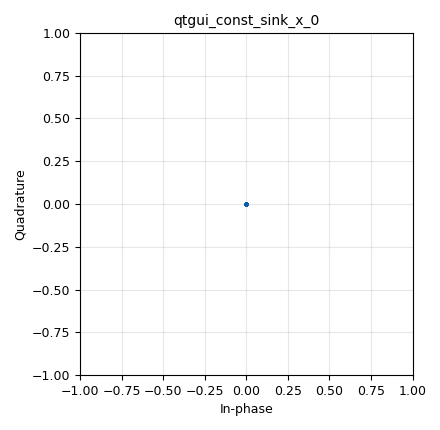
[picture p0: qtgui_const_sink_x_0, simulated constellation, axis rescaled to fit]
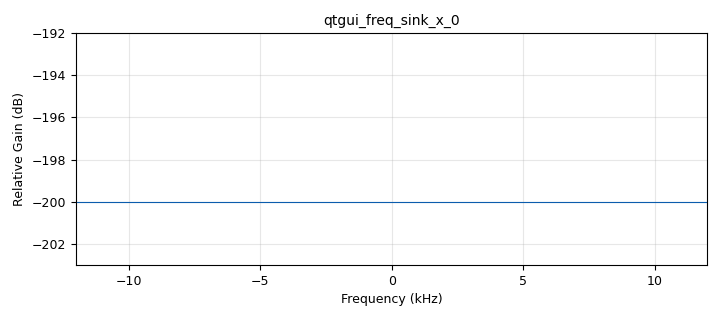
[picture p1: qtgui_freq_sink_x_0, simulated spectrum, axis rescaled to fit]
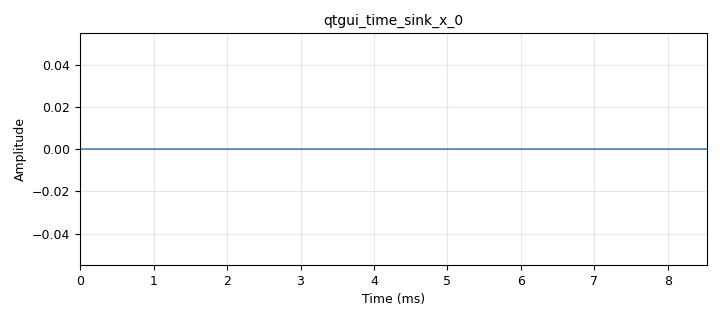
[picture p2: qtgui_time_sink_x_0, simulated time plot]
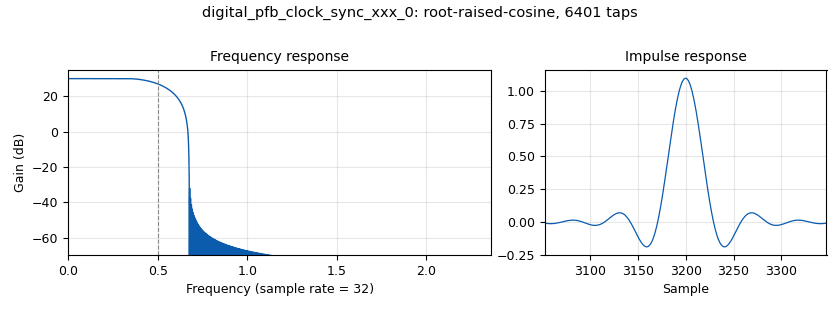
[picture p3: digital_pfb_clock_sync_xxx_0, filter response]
options:
  parameters:
    author: Aaron Scher
    description: Transmit and receive example
    generate_options: qt_gui
    id: top_block
    output_language: python
    title: HackRF - RTLSDR loop back test
  states: {}

blocks:
- name: EBW
  id: variable
  parameters:
    value: '.35'
  states: {}
- name: RRC_filter_taps
  id: variable_rrc_filter_taps
  parameters:
    alpha: EBW
    comment: Root raised cosine definition.
    gain: nfilts
    ntaps: 5*sps_TX*nfilts
    samp_rate: nfilts
    sym_rate: '1.0'
  states: {}
- name: center_freq
  id: variable
  parameters:
    comment: RF carrier frequency
    value: 430E6
  states: {}
- name: freq_offset_value
  id: variable
  parameters:
    comment: |-
      Digitally upcovert transmitted 
      signal by this value to avoid
      DC spurs, etc.
      At the receiver end, we will
      need to downconvert signal
      by this value.
    value: 30E3
  states: {}
- name: nfilts
  id: variable
  parameters:
    value: '32'
  states: {}
- name: samp_rate
  id: variable
  parameters:
    comment: |-
      Sample rate - 
      determines BW
      of transmitter and receiver.
      This should be larger
      than BW of signal itself.
    value: 240E3
  states: {}
- name: sps_RX
  id: variable
  parameters:
    comment: |-
      Samples per 
      signal at
      receiver
    value: 40/10
  states: {}
- name: sps_TX
  id: variable
  parameters:
    comment: |-
      Samples 
      per signal
      at transmitter
    value: '40'
  states: {}
- name: analog_sig_source_x_0
  id: analog_sig_source_x
  parameters:
    amp: '1'
    comment: Local oscillator
    freq: freq_offset_value
    offset: '0'
    phase: '0'
    samp_rate: samp_rate
    type: complex
    waveform: analog.GR_COS_WAVE
  states: {}
- name: analog_sig_source_x_1
  id: analog_sig_source_x
  parameters:
    amp: '1'
    comment: local oscillator
    freq: '-freq_offset_value'
    offset: '0'
    phase: '0'
    samp_rate: samp_rate
    type: complex
    waveform: analog.GR_COS_WAVE
  states: {}
- name: blocks_char_to_float_0_0
  id: blocks_char_to_float
  parameters:
    scale: '1'
  states: {}
- name: blocks_message_debug_0
  id: blocks_message_debug
  parameters:
    comment: |-
      Display recovered
      message
  states: {}
- name: blocks_message_strobe_0_0
  id: blocks_message_strobe
  parameters:
    comment: Generate hello world message
    msg: pmt.cons(pmt.make_dict(), pmt.pmt_to_python.numpy_to_uvector(numpy.array([ord(c) for c in "Hello world!"], numpy.uint8)))
    period: '500'
  states: {state: disabled}
- name: blocks_message_strobe_0_0_0
  id: blocks_message_strobe
  parameters:
    comment: Generate hello world message
    msg: pmt.cons(pmt.make_dict(), pmt.pmt_to_python.numpy_to_uvector(numpy.array([ord(c) for c in "Hello world!"], numpy.uint8)))
    period: '500'
  states: {}
- name: blocks_multiply_const_vxx_0
  id: blocks_multiply_const_vxx
  parameters:
    const: '0.5'
    type: complex
  states: {}
- name: blocks_multiply_xx_0
  id: blocks_multiply_xx
  parameters:
    comment: |-
      Perform frequency tranlation 
      (up convert)
    type: complex
  states: {}
- name: blocks_multiply_xx_1
  id: blocks_multiply_xx
  parameters:
    comment: |-
      Perform frequency translation
      (down convert)
    type: complex
  states: {}
- name: blocks_pdu_to_tagged_stream_1
  id: blocks_pdu_to_tagged_stream
  parameters:
    tag: len_key
    type: byte
  states: {}
- name: blocks_repack_bits_bb_0_0
  id: blocks_repack_bits_bb
  parameters:
    comment: Unpack bytes
    endianness: gr.GR_MSB_FIRST
    k: '8'
    l: my_const.bits_per_symbol()
    len_tag_key: len_key
  states: {}
- name: blocks_repack_bits_bb_0_0_0
  id: blocks_repack_bits_bb
  parameters:
    comment: |-
      Tagged Stream to PDU block up ahead needs
      packed bytes
    endianness: gr.GR_MSB_FIRST
    k: '1'
    l: '8'
    len_tag_key: len_key2
  states: {}
- name: blocks_tagged_stream_multiply_length_0
  id: blocks_tagged_stream_multiply_length
  parameters:
    c: sps_TX
    comment: Fix length tag to reflect the resampling
    lengthtagname: len_key
    type: complex
  states: {}
- name: blocks_tagged_stream_mux_0
  id: blocks_tagged_stream_mux
  parameters:
    comment: Append header to payload
    lengthtagname: len_key
    ninputs: '2'
    type: byte
  states: {}
- name: blocks_tagged_stream_to_pdu_0
  id: blocks_tagged_stream_to_pdu
  parameters:
    tag: len_key2
    type: byte
  states: {}
- name: blocks_unpack_k_bits_bb_0_0
  id: blocks_unpack_k_bits_bb
  parameters:
    k: '4'
  states: {}
- name: digital_binary_slicer_fb_0
  id: digital_binary_slicer_fb
  parameters: {}
  states: {}
- name: digital_burst_shaper_xx_0
  id: digital_burst_shaper_xx
  parameters:
    alias: burst_shapera
    comment: Zero pad, etc.
    insert_phasing: 'True'
    length_tag_name: len_key
    post_padding: '4000'
    pre_padding: '4000'
    type: complex
    window: numpy.ones(500)
  states: {}
- name: digital_chunks_to_symbols_xx_0_0
  id: digital_chunks_to_symbols_xx
  parameters:
    comment: Binary 1's and 0's to symbols.
    dimension: '1'
    in_type: byte
    out_type: complex
    symbol_table: my_const.points()
  states: {}
- name: digital_cma_equalizer_cc_0
  id: digital_cma_equalizer_cc
  parameters:
    comment: Channel equalizer
    modulus: '1'
    mu: '.01'
    num_taps: '11'
    sps: '1'
  states: {}
- name: digital_constellation_soft_decoder_cf_0
  id: digital_constellation_soft_decoder_cf
  parameters:
    comment: Decision
    constellation: my_const
  states: {}
- name: digital_correlate_access_code_xx_ts_1_0
  id: digital_correlate_access_code_xx_ts
  parameters:
    access_code: digital.packet_utils.default_access_code
    comment: Correlates with access code to extract the payload.
    tagname: len_key2
    threshold: '2'
    type: byte
  states: {}
- name: digital_costas_loop_cc_0
  id: digital_costas_loop_cc
  parameters:
    comment: Fine carrier frequency and phase sync
    order: '2'
    w: '.01'
  states: {}
- name: digital_diff_decoder_bb_0
  id: digital_diff_decoder_bb
  parameters:
    modulus: '2'
  states: {}
- name: digital_diff_encoder_bb_0
  id: digital_diff_encoder_bb
  parameters:
    modulus: '2'
  states: {}
- name: digital_fll_band_edge_cc_0
  id: digital_fll_band_edge_cc
  parameters:
    comment: Carrier frequency sync
    filter_size: '45'
    rolloff: EBW
    samps_per_sym: sps_RX
    type: cc
    w: '.02'
  states: {}
- name: digital_pfb_clock_sync_xxx_0
  id: digital_pfb_clock_sync_xxx
  parameters:
    comment: Timing recovery (sync)
    filter_size: nfilts
    init_phase: nfilts/2
    loop_bw: 6.28/400.0*2
    max_dev: '1.5'
    osps: '1'
    sps: sps_RX
    taps: RRC_filter_taps
    type: ccf
  states: {}
- name: digital_protocol_formatter_bb_0
  id: digital_protocol_formatter_bb
  parameters:
    comment: Generate header
    format: hdr_format
    len_tag_key: len_key
  states: {}
- name: hdr_format
  id: parameter
  parameters:
    comment: Header format definition
    label: Header Formatter
    value: digital.header_format_default(digital.packet_utils.default_access_code, 0)
  states: {}
- name: import_0
  id: import
  parameters:
    comment: |-
      Custom Embedded
      Python Block uses 
      this library.
    imports: import numpy
  states: {}
- name: my_const
  id: parameter
  parameters:
    comment: Constellation definition
    label: Constellation
    value: digital.constellation_calcdist((digital.psk_2()[0]), (digital.psk_2()[1]), 2, 1).base()
  states: {}
- name: pfb_arb_resampler_xxx_0
  id: pfb_arb_resampler_xxx
  parameters:
    atten: '100'
    comment: Resample. Apply RRC filter
    nfilts: nfilts
    rrate: sps_TX
    taps: RRC_filter_taps
    type: ccf
  states: {}
- name: qtgui_const_sink_x_0
  id: qtgui_const_sink_x
  parameters:
    size: '1024'
    type: complex
  states: {}
- name: qtgui_freq_sink_x_0
  id: qtgui_freq_sink_x
  parameters:
    bw: samp_rate/int(sps_TX/sps_RX)
    fc: '0'
    fftsize: '1024'
    showports: 'True'
    type: complex
  states: {}
- name: qtgui_time_sink_x_0
  id: qtgui_time_sink_x
  parameters:
    autoscale: 'True'
    grid: 'True'
    size: '2048'
    srate: samp_rate
    type: float
  states: {}
- name: rational_resampler_xxx_0
  id: rational_resampler_xxx
  parameters:
    comment: Downsample and LPF
    decim: int(sps_TX/sps_RX)
    interp: '1'
    taps: ''
    type: ccc
  states: {}

connections:
- [analog_sig_source_x_0, '0', blocks_multiply_xx_0, '1']
- [analog_sig_source_x_1, '0', blocks_multiply_xx_1, '1']
- [blocks_char_to_float_0_0, '0', qtgui_time_sink_x_0, '0']
- [blocks_message_strobe_0_0_0, strobe, blocks_pdu_to_tagged_stream_1, pdus]
- [blocks_multiply_const_vxx_0, '0', blocks_multiply_xx_0, '0']
- [blocks_multiply_xx_0, '0', blocks_multiply_xx_1, '0']
- [blocks_multiply_xx_1, '0', rational_resampler_xxx_0, '0']
- [blocks_pdu_to_tagged_stream_1, '0', blocks_tagged_stream_mux_0, '1']
- [blocks_pdu_to_tagged_stream_1, '0', digital_protocol_formatter_bb_0, '0']
- [blocks_repack_bits_bb_0_0, '0', digital_diff_encoder_bb_0, '0']
- [blocks_repack_bits_bb_0_0_0, '0', blocks_tagged_stream_to_pdu_0, '0']
- [blocks_tagged_stream_multiply_length_0, '0', blocks_multiply_const_vxx_0, '0']
- [blocks_tagged_stream_mux_0, '0', blocks_repack_bits_bb_0_0, '0']
- [blocks_tagged_stream_to_pdu_0, pdus, blocks_message_debug_0, print]
- [blocks_unpack_k_bits_bb_0_0, '0', blocks_char_to_float_0_0, '0']
- [digital_binary_slicer_fb_0, '0', digital_diff_decoder_bb_0, '0']
- [digital_burst_shaper_xx_0, '0', pfb_arb_resampler_xxx_0, '0']
- [digital_chunks_to_symbols_xx_0_0, '0', digital_burst_shaper_xx_0, '0']
- [digital_cma_equalizer_cc_0, '0', digital_constellation_soft_decoder_cf_0, '0']
- [digital_constellation_soft_decoder_cf_0, '0', digital_binary_slicer_fb_0, '0']
- [digital_correlate_access_code_xx_ts_1_0, '0', blocks_repack_bits_bb_0_0_0, '0']
- [digital_costas_loop_cc_0, '0', digital_cma_equalizer_cc_0, '0']
- [digital_costas_loop_cc_0, '0', qtgui_const_sink_x_0, '0']
- [digital_diff_decoder_bb_0, '0', blocks_unpack_k_bits_bb_0_0, '0']
- [digital_diff_decoder_bb_0, '0', digital_correlate_access_code_xx_ts_1_0, '0']
- [digital_diff_encoder_bb_0, '0', digital_chunks_to_symbols_xx_0_0, '0']
- [digital_fll_band_edge_cc_0, '0', digital_pfb_clock_sync_xxx_0, '0']
- [digital_pfb_clock_sync_xxx_0, '0', digital_costas_loop_cc_0, '0']
- [digital_protocol_formatter_bb_0, '0', blocks_tagged_stream_mux_0, '0']
- [pfb_arb_resampler_xxx_0, '0', blocks_tagged_stream_multiply_length_0, '0']
- [rational_resampler_xxx_0, '0', digital_fll_band_edge_cc_0, '0']
- [rational_resampler_xxx_0, '0', qtgui_freq_sink_x_0, '0']

metadata:
  file_format: 1
